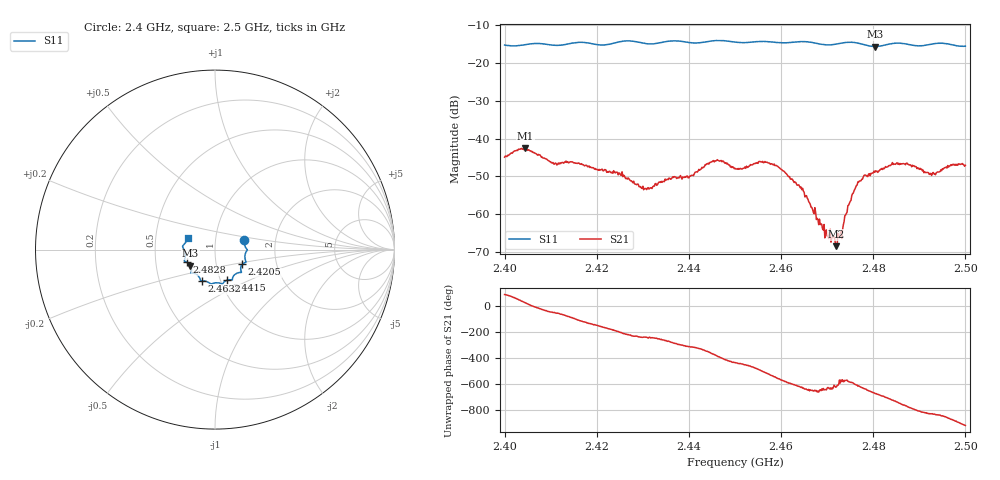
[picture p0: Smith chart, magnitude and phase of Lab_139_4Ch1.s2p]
# Hz S RI R 50
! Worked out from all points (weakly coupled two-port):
!   601 points, 2.4 GHz to 2.5 GHz, reference 50 ohm
!   highest |S21| = -42.59 dB at 2.4045 GHz (marker M1); lowest = -68.4 dB at 2.472 GHz (marker M2)
!   lowest |S11| = -15.7 dB at 2.4803 GHz (marker M3), VSWR 1.39, Z = 37.4 - j6.84 ohm
!   |S11| at or under -10 dB: start of sweep to end of sweep
!   S12 and S22 are empty: the file has one direction only
!   S11 on the Smith chart (normalised r, x): 2.4 GHz: 1.38, +0.15; 2.4205 GHz: 1.34, -0.23; 2.4415 GHz: 1.07, -0.38; 2.4632 GHz: 0.82, -0.29; 2.4828 GHz: 0.72, -0.10; 2.5 GHz: 0.73, +0.10
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2.4e9  0.1635 0.0519  0.00044 0.00567  0 0  0 0
2.4045e9  0.1736 0.00683  0.00689 0.00276  0 0  0 0
2.411e9  0.1682 -0.0257  0.00267 -0.00394  0 0  0 0
2.416667e9  0.173 -0.0699  -0.00227 -0.00407  0 0  0 0
2.4205e9  0.1521 -0.0817  -0.0036 -0.00154  0 0  0 0
2.430333e9  0.1249 -0.1305  -0.00103 0.00193  0 0  0 0
2.433333e9  0.1003 -0.1516  -0.000609 0.00251  0 0  0 0
2.4415e9  0.0656 -0.1707  0.00288 0.00219  0 0  0 0
2.445667e9  0.042 -0.1919  0.0048 -0.00162  0 0  0 0
2.45e9  0.0243 -0.1863  0.000873 -0.00395  0 0  0 0
2.457e9  -0.0262 -0.1889  -0.00465 -0.00142  0 0  0 0
2.463167e9  -0.0731 -0.1741  -0.000773 0.00253  0 0  0 0
2.466667e9  -0.0822 -0.1669  0.000472 0.00114  0 0  0 0
2.469833e9  -0.0977 -0.1423  0.000191 0.000593  0 0  0 0
2.472e9  -0.1184 -0.1313  -3.09e-05 0.000378  0 0  0 0
2.4765e9  -0.133 -0.1257  -0.000803 0.00229  0 0  0 0
2.480333e9  -0.1378 -0.089  0.00252 0.00255  0 0  0 0
2.482833e9  -0.1586 -0.07  0.00409 0.000892  0 0  0 0
2.483333e9  -0.1625 -0.0682  0.00436 0.000392  0 0  0 0
2.487667e9  -0.1676 -0.0499  0.00224 -0.00395  0 0  0 0
2.492667e9  -0.1763 0.00729  -0.00125 -0.00301  0 0  0 0
2.5e9  -0.1529 0.0644  -0.00411 0.00167  0 0  0 0
